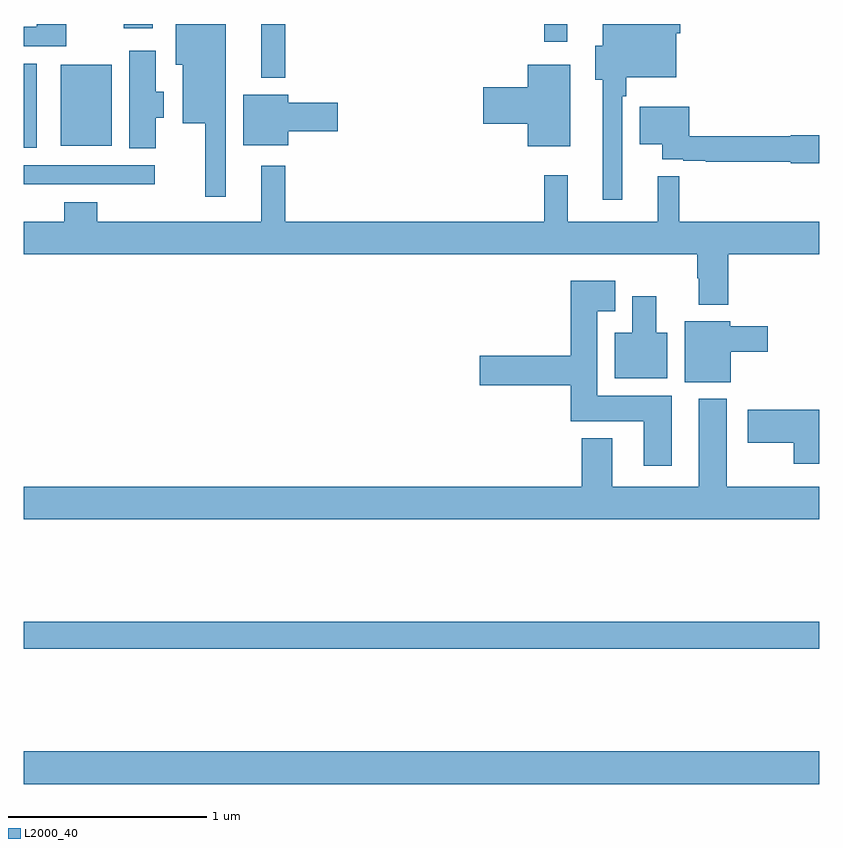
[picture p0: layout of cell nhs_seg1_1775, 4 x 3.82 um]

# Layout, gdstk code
import gdstk
lib = gdstk.Library(unit=1e-6, precision=1e-09)
def R(c, l, rs):  # rectangles x0, y0, x1, y1
    for r in rs: c.add(gdstk.rectangle(r[:2], r[2:], *l))
def P(c, l, *ps):  # polygons
    for p in ps: c.add(gdstk.Polygon(p, *l))
L2000_40 = (2000, 40)

nhs_seg1_1775 = lib.new_cell('nhs_seg1_1775')
R(nhs_seg1_1775, L2000_40, [(207,574.376,211,574.54), (207,575.056,211,575.192), (207,577.392,207.658,577.488), (207,577.577,207.064,577.999), (207.185,577.586,207.442,577.993), (208.193,577.928,208.315,578.199), (209.617,578.109,209.734,578.199), (207.502,578.178,207.649,578.199)])
P(nhs_seg1_1775, L2000_40, [(210.009,577.835),(210.029,577.835),(210.029,577.931),(210.282,577.931),(210.282,578.153),(210.302,578.153),(210.302,578.199),(209.912,578.199),(209.912,578.089),(209.873,578.089),(209.873,577.919),(209.912,577.919),(209.912,577.314),(210.009,577.314)],
  [(208.015,578.199),(207.764,578.199),(207.764,577.994),(207.8,577.994),(207.8,577.7),(207.911,577.7),(207.911,577.329),(208.015,577.329)],
  [(207.213,578.199),(207.065,578.199),(207.065,578.184),(207,578.184),(207,578.088),(207.213,578.088)],
  [(207.664,577.727),(207.703,577.727),(207.703,577.857),(207.664,577.857),(207.664,578.065),(207.53,578.065),(207.53,577.573),(207.664,577.573)],
  [(209.749,577.993),(209.534,577.993),(209.534,577.88),(209.31,577.88),(209.31,577.697),(209.534,577.697),(209.534,577.583),(209.749,577.583)],
  [(208.33,577.66),(208.579,577.66),(208.579,577.802),(208.33,577.802),(208.33,577.843),(208.103,577.843),(208.103,577.589),(208.33,577.589)],
  [(211,577.64),(210.858,577.64),(210.858,577.634),(210.347,577.634),(210.347,577.783),(210.098,577.783),(210.098,577.595),(210.212,577.595),(210.212,577.518),(210.316,577.518),(210.316,577.512),(210.43,577.512),(210.43,577.506),(210.858,577.506),(210.858,577.498),(211,577.498)],
  [(210.543,577.04),(211,577.04),(211,577.204),(210.296,577.204),(210.296,577.433),(210.188,577.433),(210.188,577.204),(209.735,577.204),(209.735,577.438),(209.617,577.438),(209.617,577.204),(208.315,577.204),(208.315,577.486),(208.193,577.486),(208.193,577.204),(207.368,577.204),(207.368,577.303),(207.203,577.303),(207.203,577.204),(207,577.204),(207,577.04),(210.388,577.04),(210.388,576.92),(210.395,576.92),(210.395,576.788),(210.543,576.788)],
  [(210.259,576.328),(209.884,576.328),(209.884,576.755),(209.974,576.755),(209.974,576.907),(209.75,576.907),(209.75,576.53),(209.292,576.53),(209.292,576.383),(209.75,576.383),(209.75,576.2),(210.119,576.2),(210.119,575.976),(210.259,575.976)],
  [(210.235,576.646),(210.181,576.646),(210.181,576.829),(210.059,576.829),(210.059,576.646),(209.972,576.646),(209.972,576.416),(210.235,576.416)],
  [(210.556,576.55),(210.742,576.55),(210.742,576.679),(210.552,576.679),(210.552,576.703),(210.323,576.703),(210.323,576.398),(210.556,576.398)],
  [(211,575.872),(210.535,575.872),(210.535,576.313),(210.395,576.313),(210.395,575.872),(209.959,575.872),(209.959,576.115),(209.807,576.115),(209.807,575.872),(207,575.872),(207,575.708),(211,575.708)],
  [(211,576.258),(210.642,576.258),(210.642,576.092),(210.872,576.092),(210.872,575.987),(211,575.987)])

lib.write_gds('nhs_seg1_1775.gds')
